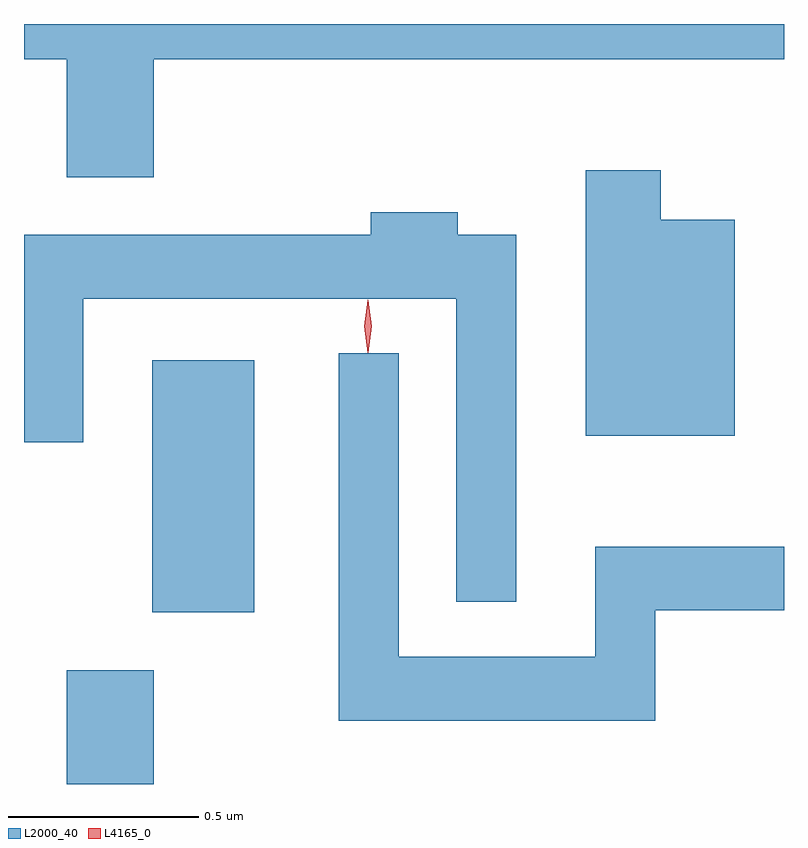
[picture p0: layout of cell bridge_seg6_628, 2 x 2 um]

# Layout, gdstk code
import gdstk
lib = gdstk.Library(unit=1e-6, precision=1e-09)
def R(c, l, rs):  # rectangles x0, y0, x1, y1
    for r in rs: c.add(gdstk.rectangle(r[:2], r[2:], *l))
def P(c, l, *ps):  # polygons
    for p in ps: c.add(gdstk.Polygon(p, *l))
L2000_40 = (2000, 40)
L4165_0 = (4165, 0)

bridge_seg6_628 = lib.new_cell('bridge_seg6_628')
R(bridge_seg6_628, L2000_40, [(539.901,1630.269,540.129,1630.569), (540.126,1630.721,540.394,1631.384)])
P(bridge_seg6_628, L2000_40, [(540.129,1632.176),(541.788,1632.176),(541.788,1632.269),(539.788,1632.269),(539.788,1632.176),(539.901,1632.176),(539.901,1631.866),(540.129,1631.866)],
  [(541.659,1631.754),(541.464,1631.754),(541.464,1631.884),(541.266,1631.884),(541.266,1631.186),(541.659,1631.186)],
  [(541.084,1631.714),(540.929,1631.714),(540.929,1631.774),(540.701,1631.774),(540.701,1631.714),(539.788,1631.714),(539.788,1631.168),(539.944,1631.168),(539.944,1631.546),(540.926,1631.546),(540.926,1630.748),(541.084,1630.748)],
  [(541.449,1630.726),(541.788,1630.726),(541.788,1630.894),(541.291,1630.894),(541.291,1630.604),(540.774,1630.604),(540.774,1631.403),(540.616,1631.403),(540.616,1630.436),(541.449,1630.436)])
P(bridge_seg6_628, L4165_0, [(540.693,1631.404),(540.693,1631.404),(540.683,1631.473),(540.693,1631.542),(540.693,1631.543),(540.694,1631.542),(540.703,1631.473),(540.694,1631.404)])

lib.write_gds('bridge_seg6_628.gds')
